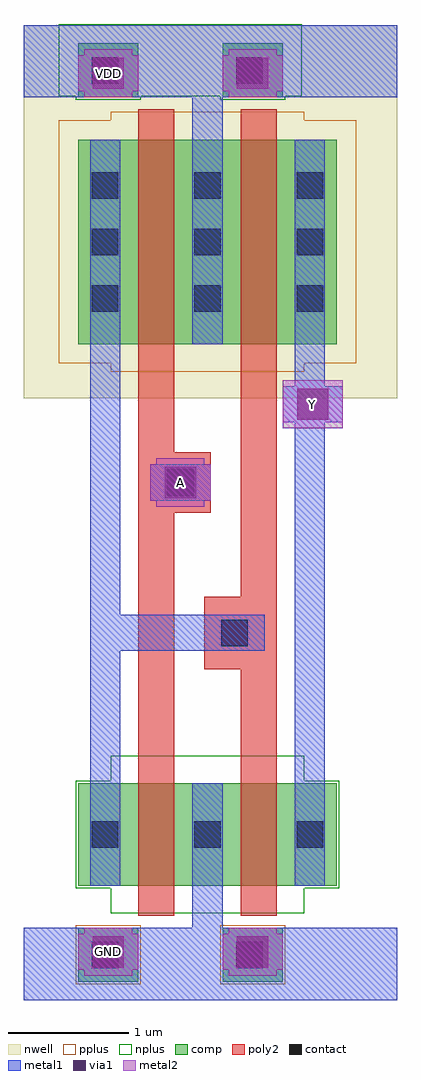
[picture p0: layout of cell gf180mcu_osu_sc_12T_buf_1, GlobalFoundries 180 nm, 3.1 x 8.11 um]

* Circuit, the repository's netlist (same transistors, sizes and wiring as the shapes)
.option scale=0.05u

.subckt gf180mcu_osu_sc_12T_buf_1 A Y
X0 Y a_n8_16 VDD VDD pmos_3p3 w=34 l=6
X1 Y a_n8_16 GND GND nmos_3p3 w=17 l=6
X2 VDD A a_n8_16 VDD pmos_3p3 w=34 l=6
X3 GND A a_n8_16 GND nmos_3p3 w=17 l=6
.ends

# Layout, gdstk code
import gdstk
lib = gdstk.Library(unit=1e-6, precision=1e-09)
def R(c, l, rs):  # rectangles x0, y0, x1, y1
    for r in rs: c.add(gdstk.rectangle(r[:2], r[2:], *l))
def A(c, l, x, y, w, h, nx, ny, dx, dy):  # array of equal rectangles
    R(c, l, [(x+i*dx, y+j*dy, x+i*dx+w, y+j*dy+h) for i in range(nx) for j in range(ny)])
nwell = (21, 0)
comp = (22, 0)
poly2 = (30, 0)
pplus = (31, 0)
nplus = (32, 0)
contact = (33, 0)
metal1 = (34, 0)
via1 = (35, 0)
metal2 = (36, 0)

gf180mcu_osu_sc_12t_buf_ = lib.new_cell('gf180mcu_osu_sc_12T_buf_1')
R(gf180mcu_osu_sc_12t_buf_, nwell, [(-0.85,4.85,2.25,7.95)])
R(gf180mcu_osu_sc_12t_buf_, comp, [(-0.4,0,0.1,0.45), (0.8,0,1.3,0.45), (-0.4,0.8,1.75,1.65), (-0.4,5.3,1.75,7), (-0.4,7.35,0.1,7.8), (0.8,7.35,1.3,7.8)])
R(gf180mcu_osu_sc_12t_buf_, poly2, [(0.1,0.55,0.4,3.9), (0.95,0.55,1.25,2.6), (0.65,2.6,1.25,3.2), (0.95,3.2,1.25,7.25), (0.1,3.9,0.7,4.4), (0.1,4.4,0.4,7.25)])
R(gf180mcu_osu_sc_12t_buf_, pplus, [(-0.42,-0.02,0.12,0.47), (0.78,-0.02,1.32,0.47), (-0.13,5.07,1.48,5.14), (-0.56,5.14,1.91,7.16), (-0.13,7.16,1.48,7.23)])
R(gf180mcu_osu_sc_12t_buf_, nplus, [(-0.13,0.57,1.48,0.78), (-0.42,0.78,1.77,1.67), (-0.13,1.67,1.48,1.88), (-0.42,7.33,0.12,7.36), (0.78,7.33,1.32,7.36), (-0.56,7.36,1.46,7.96)])
A(gf180mcu_osu_sc_12t_buf_, contact, -0.285, 1.115, 0.22, 0.22, 3, 2, 0.85, 4.455)
A(gf180mcu_osu_sc_12t_buf_, contact, -0.285, 6.04, 0.22, 0.22, 3, 2, 0.85, 0.47)
R(gf180mcu_osu_sc_12t_buf_, contact, [(-0.285,0.115,-0.065,0.335), (0.915,0.115,1.135,0.335), (0.79,2.79,1.01,3.01), (0.34,4.04,0.56,4.26), (-0.285,7.465,-0.065,7.685), (0.915,7.465,1.135,7.685)])
R(gf180mcu_osu_sc_12t_buf_, metal1, [(-0.85,-0.15,2.25,0.45), (0.55,0.45,0.8,1.65), (-0.3,0.8,-0.05,2.75), (1.4,0.8,1.65,4.65), (-0.3,2.75,1.15,3.05), (-0.3,3.05,-0.05,7), (0.2,4,0.7,4.3), (1.3,4.65,1.8,4.95), (1.4,4.95,1.65,7), (0.55,5.3,0.8,7.35), (-0.85,7.35,2.25,7.95)])
R(gf180mcu_osu_sc_12t_buf_, via1, [(-0.28,0.12,-0.02,0.38), (0.92,0.12,1.18,0.38), (0.32,4.02,0.58,4.28), (1.42,4.67,1.68,4.93), (-0.28,7.42,-0.02,7.68), (0.92,7.42,1.18,7.68)])
R(gf180mcu_osu_sc_12t_buf_, metal2, [(-0.35,0.05,0.05,0.1), (0.85,0.05,1.25,0.1), (-0.4,0.1,0.1,0.4), (0.8,0.1,1.3,0.4), (-0.35,0.4,0.05,0.45), (0.85,0.4,1.25,0.45), (0.25,3.95,0.65,4), (0.2,4,0.7,4.3), (0.25,4.3,0.65,4.35), (1.3,4.6,1.8,5), (-0.35,7.35,0.05,7.4), (0.85,7.35,1.25,7.4), (-0.4,7.4,0.1,7.7), (0.8,7.4,1.3,7.7), (-0.35,7.7,0.05,7.75), (0.85,7.7,1.25,7.75)])
gf180mcu_osu_sc_12t_buf_.add(gdstk.Label('GND', (-0.15,0.25), layer=36, texttype=0))
gf180mcu_osu_sc_12t_buf_.add(gdstk.Label('VDD', (-0.15,7.55), layer=36, texttype=0))
gf180mcu_osu_sc_12t_buf_.add(gdstk.Label('A', (0.45,4.15), layer=36, texttype=10))
gf180mcu_osu_sc_12t_buf_.add(gdstk.Label('Y', (1.55,4.8), layer=36, texttype=10))

lib.write_gds('gf180mcu_osu_sc_12T_buf_1.gds')
